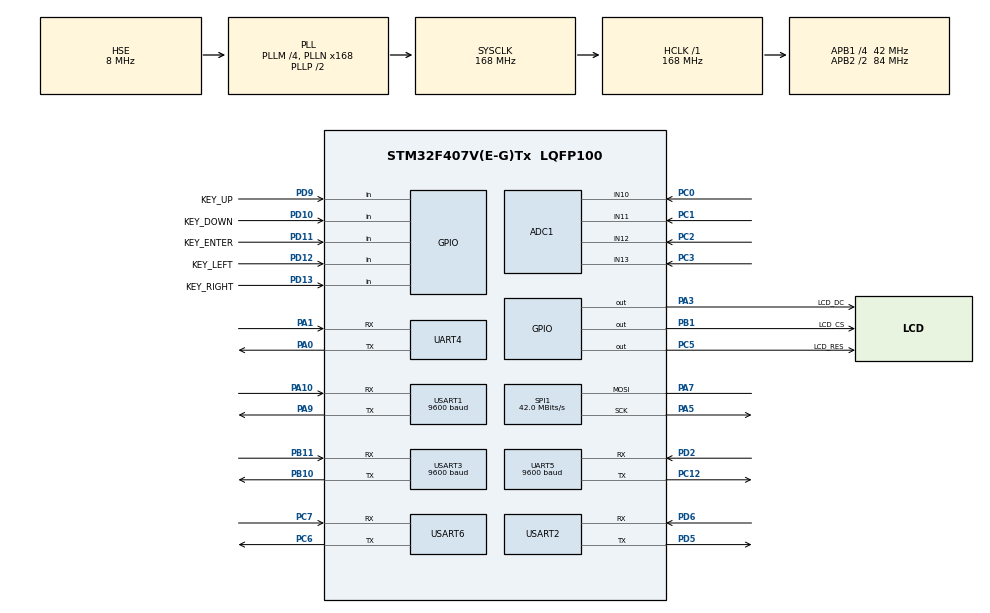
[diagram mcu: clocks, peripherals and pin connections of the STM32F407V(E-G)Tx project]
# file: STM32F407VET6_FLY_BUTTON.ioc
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ADC1.Channel-1\#ChannelRegularConversion=ADC_CHANNEL_10
ADC1.Channel-2\#ChannelRegularConversion=ADC_CHANNEL_11
ADC1.Channel-3\#ChannelRegularConversion=ADC_CHANNEL_12
ADC1.Channel-4\#ChannelRegularConversion=ADC_CHANNEL_13
ADC1.ContinuousConvMode=ENABLE
ADC1.DMAContinuousRequests=ENABLE
ADC1.NbrOfConversion=4
ADC1.NbrOfConversionFlag=1
ADC1.Rank-1\#ChannelRegularConversion=1
ADC1.Rank-2\#ChannelRegularConversion=2
ADC1.Rank-3\#ChannelRegularConversion=3
ADC1.Rank-4\#ChannelRegularConversion=4
ADC1.SamplingTime-1\#ChannelRegularConversion=ADC_SAMPLETIME_480CYCLES
ADC1.SamplingTime-2\#ChannelRegularConversion=ADC_SAMPLETIME_480CYCLES
ADC1.SamplingTime-3\#ChannelRegularConversion=ADC_SAMPLETIME_480CYCLES
ADC1.SamplingTime-4\#ChannelRegularConversion=ADC_SAMPLETIME_480CYCLES
ADC1.master=1
Dma.ADC1.0.Direction=DMA_PERIPH_TO_MEMORY
Dma.ADC1.0.FIFOMode=DMA_FIFOMODE_DISABLE
Dma.ADC1.0.Instance=DMA2_Stream0
Dma.ADC1.0.MemDataAlignment=DMA_MDATAALIGN_HALFWORD
Dma.ADC1.0.MemInc=DMA_MINC_ENABLE
Dma.ADC1.0.Mode=DMA_CIRCULAR
Dma.ADC1.0.PeriphDataAlignment=DMA_PDATAALIGN_HALFWORD
Dma.ADC1.0.PeriphInc=DMA_PINC_DISABLE
Dma.ADC1.0.Priority=DMA_PRIORITY_LOW
Dma.Request0=ADC1
Mcu.Family=STM32F4
Mcu.Name=STM32F407V(E-G)Tx
Mcu.Package=LQFP100
NVIC.DMA2_Stream0_IRQn=true\:0\:0\:false\:false\:true\:true\:false\:true\:true
NVIC.PriorityGroup=NVIC_PRIORITYGROUP_4
NVIC.TIM1_UP_TIM10_IRQn=true\:15\:0\:false\:false\:true\:false\:false\:true\:true
NVIC.TimeBase=TIM1_UP_TIM10_IRQn
NVIC.TimeBaseIP=TIM1
NVIC.UART4_IRQn=true\:8\:0\:true\:false\:true\:false\:true\:true\:true
NVIC.UART5_IRQn=true\:12\:0\:true\:false\:true\:false\:true\:true\:true
NVIC.USART1_IRQn=true\:12\:0\:true\:false\:true\:false\:true\:true\:true
NVIC.USART3_IRQn=true\:12\:0\:true\:false\:true\:false\:true\:true\:true
NVIC.USART6_IRQn=true\:10\:0\:true\:false\:true\:false\:true\:true\:true
PA0-WKUP.Mode=Asynchronous
PA0-WKUP.Signal=UART4_TX
PA1.Mode=Asynchronous
PA1.Signal=UART4_RX
PA10.Mode=Asynchronous
PA10.Signal=USART1_RX
PA13.Mode=Serial_Wire
PA13.Signal=SYS_JTMS-SWDIO
PA14.Mode=Serial_Wire
PA14.Signal=SYS_JTCK-SWCLK
PA3.GPIO_Label=LCD_DC
PA3.GPIO_Speed=GPIO_SPEED_FREQ_VERY_HIGH
PA3.Signal=GPIO_Output
PA5.Mode=Simplex_Bidirectional_Master
PA5.Signal=SPI1_SCK
PA7.Mode=Simplex_Bidirectional_Master
PA7.Signal=SPI1_MOSI
PA9.Mode=Asynchronous
PA9.Signal=USART1_TX
PB1.GPIO_Label=LCD_CS
PB1.GPIO_Speed=GPIO_SPEED_FREQ_VERY_HIGH
PB1.PinState=GPIO_PIN_SET
PB1.Signal=GPIO_Output
PB10.Mode=Asynchronous
PB10.Signal=USART3_TX
PB11.Mode=Asynchronous
PB11.Signal=USART3_RX
PC0.Signal=ADCx_IN10
PC1.Signal=ADCx_IN11
PC12.Mode=Asynchronous
PC12.Signal=UART5_TX
PC2.Signal=ADCx_IN12
PC3.Signal=ADCx_IN13
PC5.GPIO_Label=LCD_RES
PC5.GPIO_Speed=GPIO_SPEED_FREQ_VERY_HIGH
PC5.PinState=GPIO_PIN_SET
PC5.Signal=GPIO_Output
PC6.Mode=Asynchronous
PC6.Signal=USART6_TX
PC7.Mode=Asynchronous
PC7.Signal=USART6_RX
PD10.GPIO_Label=KEY_DOWN
PD10.Signal=GPIO_Input
PD11.GPIO_Label=KEY_ENTER
PD11.Signal=GPIO_Input
PD12.GPIO_Label=KEY_LEFT
PD12.Signal=GPIO_Input
PD13.GPIO_Label=KEY_RIGHT
PD13.Signal=GPIO_Input
PD2.Mode=Asynchronous
PD2.Signal=UART5_RX
PD5.Mode=Asynchronous
PD5.Signal=USART2_TX
PD6.Mode=Asynchronous
PD6.Signal=USART2_RX
PD9.GPIO_Label=KEY_UP
PD9.Signal=GPIO_Input
PH0-OSC_IN.Mode=HSE-External-Oscillator
PH0-OSC_IN.Signal=RCC_OSC_IN
PH1-OSC_OUT.Mode=HSE-External-Oscillator
PH1-OSC_OUT.Signal=RCC_OSC_OUT
ProjectManager.HeapSize=0x200
ProjectManager.StackSize=0x400
ProjectManager.TargetToolchain=MDK-ARM V5.32
RCC.48MHZClocksFreq_Value=84000000
RCC.AHBFreq_Value=168000000
RCC.APB1CLKDivider=RCC_HCLK_DIV4
RCC.APB1Freq_Value=42000000
RCC.APB1TimFreq_Value=84000000
RCC.APB2CLKDivider=RCC_HCLK_DIV2
RCC.APB2Freq_Value=84000000
RCC.APB2TimFreq_Value=168000000
RCC.CortexFreq_Value=168000000
RCC.HCLKFreq_Value=168000000
RCC.HSE_VALUE=8000000
RCC.HSI_VALUE=16000000
RCC.LSE_VALUE=32768
RCC.PLLM=4
RCC.PLLN=168
RCC.PLLSourceVirtual=RCC_PLLSOURCE_HSE
RCC.SYSCLKFreq_VALUE=168000000
RCC.SYSCLKSource=RCC_SYSCLKSOURCE_PLLCLK
RCC.VCOOutputFreq_Value=336000000
RealThread.RT-Thread.3.1.5.RTOSJjdevice=true
RealThread.RT-Thread.3.1.5.RTOSJjkernel=true
RealThread.RT-Thread.3.1.5.RTOSJjshell=true
RealThread.RT-Thread.3.1.5.RT_USING_HEAP=1
RealThread.RT-Thread.3.1.5.RT_USING_TINY_SIZE=1
SH.ADCx_IN10.0=ADC1_IN10,IN10
SH.ADCx_IN11.0=ADC1_IN11,IN11
SH.ADCx_IN12.0=ADC1_IN12,IN12
SH.ADCx_IN13.0=ADC1_IN13,IN13
SPI1.CalculateBaudRate=42.0 MBits/s
SPI1.Direction=SPI_DIRECTION_1LINE
SPI1.Mode=SPI_MODE_MASTER
SPI1.VirtualType=VM_MASTER
UART4.VirtualMode=Asynchronous
UART5.BaudRate=9600
UART5.VirtualMode=Asynchronous
USART1.BaudRate=9600
USART1.VirtualMode=VM_ASYNC
USART2.VirtualMode=VM_ASYNC
USART3.BaudRate=9600
USART3.VirtualMode=VM_ASYNC
USART6.VirtualMode=VM_ASYNC
VP_RealThread.RT-Thread_VS_RTOSJjdevice_3.1.5_3.1.5.Mode=RTOSJjdevice
VP_RealThread.RT-Thread_VS_RTOSJjkernel_3.1.5_3.1.5.Mode=RTOSJjkernel
VP_RealThread.RT-Thread_VS_RTOSJjshell_3.1.5_3.1.5.Mode=RTOSJjshell
VP_SYS_VS_tim1.Mode=TIM1
board=custom

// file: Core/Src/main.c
/* USER CODE BEGIN Header */
/**
  ******************************************************************************
  * @file           : main.c
  * @brief          : Main program body
  ******************************************************************************
  * @attention
  *
  * Copyright (c) 2022 STMicroelectronics.
  * All rights reserved.
  *
  * This software is licensed under terms that can be found in the LICENSE file
  * in the root directory of this software component.
  * If no LICENSE file comes with this software, it is provided AS-IS.
  *
  ******************************************************************************
  */
/* USER CODE END Header */
#include "main.h"
#include "adc.h"
#include "dma.h"
#include "spi.h"
#include "usart.h"
#include "gpio.h"

/* USER CODE BEGIN Includes */
#include <rtthread.h>
#include "lvgl.h"
#include "lv_port_disp_template.h"
#include "usart1_task.h"
#include "usart3_task.h"
#include "uart4_task.h"
#include "uart5_task.h"
#include "lvgl_task.h"
/* USER CODE END Includes */

/* USER CODE BEGIN PD */
#define SHELL_BUF_LEN 16
/* USER CODE END PD */

/* USER CODE BEGIN PV */
extern rt_sem_t loading_sem;
rt_sem_t shell_sem = NULL;
rt_ringbuffer_t shell_cb_t;
uint16_t ADC_Value[4];
/* USER CODE END PV */

void SystemClock_Config(void);

int main(void)
{

  /* MCU Configuration--------------------------------------------------------*/

  /* Reset of all peripherals, Initializes the Flash interface and the Systick. */
  HAL_Init();

  /* Configure the system clock */
  SystemClock_Config();

  /* Initialize all configured peripherals */
  MX_GPIO_Init();
  MX_SPI1_Init();
  MX_UART4_Init();
  MX_UART5_Init();
  MX_USART1_UART_Init();
  MX_USART2_UART_Init();
  MX_USART3_UART_Init();
  MX_DMA_Init();
  MX_ADC1_Init();
  MX_USART6_UART_Init();
  /* USER CODE BEGIN 2 */
  __HAL_UART_ENABLE_IT(&huart6, UART_IT_RXNE);
  HAL_ADC_Start_DMA(&hadc1, (uint32_t *)ADC_Value, 4);
  /* 创建串口接收 ringbuffer  */
  shell_cb_t = rt_ringbuffer_create(SHELL_BUF_LEN);
  /* 创建串口接收数据的信号量 */
  shell_sem = rt_sem_create("shell", 0, 0);
  if (shell_sem == RT_NULL)
  {
      rt_kprintf("create shell semaphore failed.\n");
      return -1;
  }

  /*初始化并启动任务线程*/
  lvgl_task_init();
  uart5_task_init();

  rt_sem_take(loading_sem, RT_WAITING_FOREVER);
  usart1_task_init();
  usart3_task_init();

  return 0;//结束并回收main线程
  /* USER CODE END 2 */

  /* Infinite loop */
  /* USER CODE BEGIN WHILE */
//  while (1)
//  {
    /* USER CODE END WHILE */

    /* USER CODE BEGIN 3 */
//  }
  /* USER CODE END 3 */
}

void SystemClock_Config(void)
{
  RCC_OscInitTypeDef RCC_OscInitStruct = {0};
  RCC_ClkInitTypeDef RCC_ClkInitStruct = {0};

  /** Configure the main internal regulator output voltage
  */
  __HAL_RCC_PWR_CLK_ENABLE();
  __HAL_PWR_VOLTAGESCALING_CONFIG(PWR_REGULATOR_VOLTAGE_SCALE1);

  /** Initializes the RCC Oscillators according to the specified parameters
  * in the RCC_OscInitTypeDef structure.
  */
  RCC_OscInitStruct.OscillatorType = RCC_OSCILLATORTYPE_HSE;
  RCC_OscInitStruct.HSEState = RCC_HSE_ON;
  RCC_OscInitStruct.PLL.PLLState = RCC_PLL_ON;
  RCC_OscInitStruct.PLL.PLLSource = RCC_PLLSOURCE_HSE;
  RCC_OscInitStruct.PLL.PLLM = 4;
  RCC_OscInitStruct.PLL.PLLN = 168;
  RCC_OscInitStruct.PLL.PLLP = RCC_PLLP_DIV2;
  RCC_OscInitStruct.PLL.PLLQ = 4;
  if (HAL_RCC_OscConfig(&RCC_OscInitStruct) != HAL_OK)
  {
    Error_Handler();
  }

  /** Initializes the CPU, AHB and APB buses clocks
  */
  RCC_ClkInitStruct.ClockType = RCC_CLOCKTYPE_HCLK|RCC_CLOCKTYPE_SYSCLK
                              |RCC_CLOCKTYPE_PCLK1|RCC_CLOCKTYPE_PCLK2;
  RCC_ClkInitStruct.SYSCLKSource = RCC_SYSCLKSOURCE_PLLCLK;
  RCC_ClkInitStruct.AHBCLKDivider = RCC_SYSCLK_DIV1;
  RCC_ClkInitStruct.APB1CLKDivider = RCC_HCLK_DIV4;
  RCC_ClkInitStruct.APB2CLKDivider = RCC_HCLK_DIV2;

  if (HAL_RCC_ClockConfig(&RCC_ClkInitStruct, FLASH_LATENCY_5) != HAL_OK)
  {
    Error_Handler();
  }
}

void HAL_TIM_PeriodElapsedCallback(TIM_HandleTypeDef *htim)
{
  if (htim->Instance == TIM1) {
    HAL_IncTick();
    lv_tick_inc(1);
  }
}

void Error_Handler(void)
{
  __disable_irq();
  while (1)
  {
  }
}
